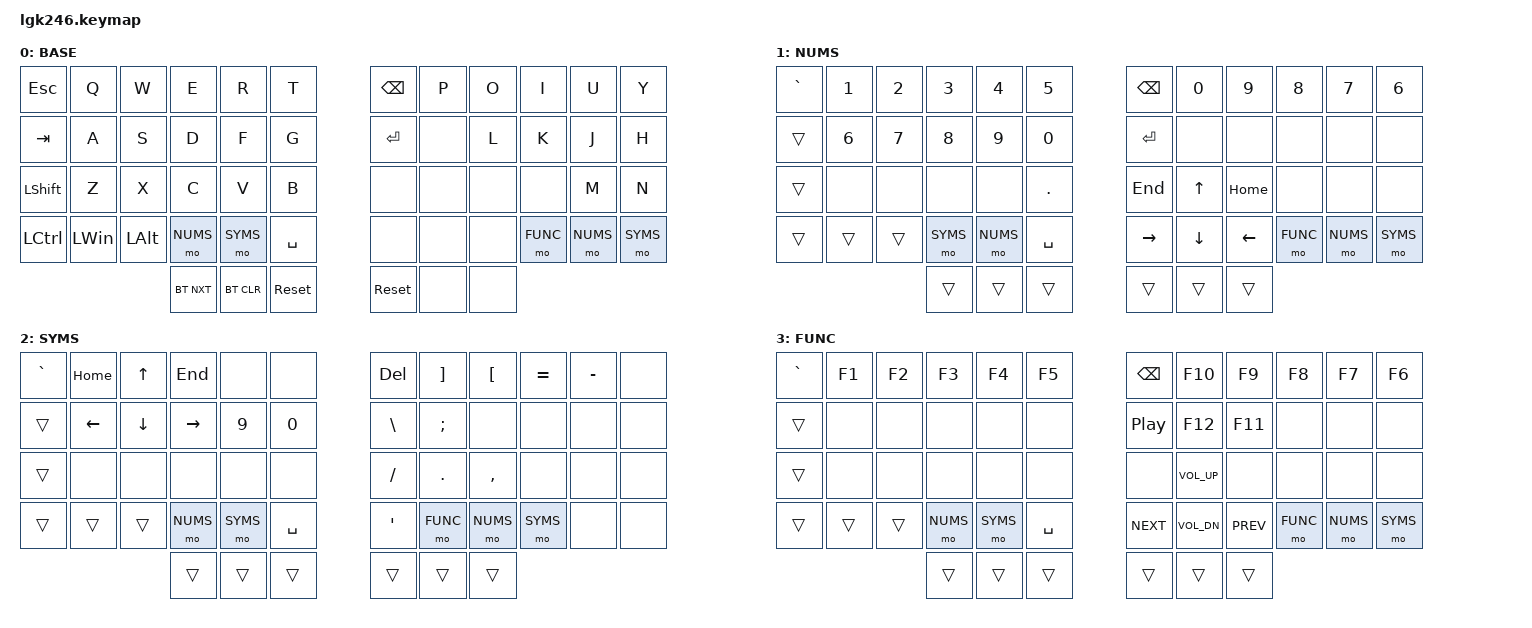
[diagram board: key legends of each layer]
#include <behaviors.dtsi>
#include <dt-bindings/zmk/keys.h>
#include <dt-bindings/zmk/bt.h>
#include <dt-bindings/zmk/outputs.h>

#define BASE 0
#define NUMS 1
#define SYMS 2
#define FUNC 3

&mt {
  quick-tap-ms = <100>;
  global-quick-tap;
  flavor = "tap-preferred";
  tapping-term-ms = <170>;
};

/ {
    combos {
            compatible = "zmk,combos";
            combo_esc {
                timeout-ms = <50>;
                key-positions = <0 1>;
                bindings = <&kp ESC>;
            };
    };

    macros {
        gif: gif {
            label = "giphy";
            compatible = "zmk,behavior-macro";
            #binding-cells = <0>;
            bindings
                = <&macro_press &kp LSHFT>
                , <&macro_tap &kp N2>
                , <&macro_release &kp LSHFT>
                , <&macro_tap &kp G &kp I &kp F>
                ;
        };
    };

        keymap {
                compatible = "zmk,keymap";
// ▄▄▄▄▄▄▄▄▄▄▄▄▄▄▄▄▄▄▄▄▄▄▄▄▄▄▄▄▄▄▄▄▄▄▄▄▄▄▄▄▄▄▄▄▄▄▄▄▄▄▄▄▄▄▄▄▄▄▄▄▄▄▄▄▄▄▄▄▄▄▄▄▄▄▄▄▄▄▄▄▄▄▄▄▄▄▄▄▄▄▄▄▄▄▄▄▄▄▄▄▄▄▄▄▄▄▄▄▄▄▄▄▄▄▄▄▄▄▄▄▄▄▄▄▄▄▄▄▄▄▄▄▄▄▄▄▄▄▄▄▄▄▄▄▄▄▄▄▄

                base_layer {
// ┏━━━━━━━━━━━━━━━━━━━━━━━━━━━━━━━━━━━━━━━┓
label= "BASE"                              ;
// ┗━━━━━━━━━━━━━━━━━━━━━━━━━━━━━━━━━━━━━━━┛
// ┏━━━━━━━━━━━┳━━━━━━━━━━━┳━━━━━━━━━━━┳━━━━━━━━━━━┳━━━━━━━━━━━┳━━━━━━━━━━━┓   ┏━━━━━━━━━━━┳━━━━━━━━━━━┳━━━━━━━━━━━┳━━━━━━━━━━━┳━━━━━━━━━━━┳━━━━━━━━━━━┓
// ┃    ESC    ┃     Q     ┃     W     ┃     E     ┃     R     ┃     T     ┃   ┃    BACK   ┃     P     ┃     O     ┃     I     ┃     U     ┃     Y     ┃
// ┣━━━━━━━━━━━╋━━━━━━━━━━━╋━━━━━━━━━━━╋━━━━━━━━━━━╋━━━━━━━━━━━╋━━━━━━━━━━━┫   ┣━━━━━━━━━━━╋━━━━━━━━━━━╋━━━━━━━━━━━╋━━━━━━━━━━━╋━━━━━━━━━━━╋━━━━━━━━━━━┫
// ┃    TAB    ┃     A     ┃     S     ┃     D     ┃     F     ┃     G     ┃   ┃   ENTER   ┃           ┃     L     ┃     K     ┃     J     ┃     H     ┃
// ┣━━━━━━━━━━━╋━━━━━━━━━━━╋━━━━━━━━━━━╋━━━━━━━━━━━╋━━━━━━━━━━━╋━━━━━━━━━━━┫   ┣━━━━━━━━━━━╋━━━━━━━━━━━╋━━━━━━━━━━━╋━━━━━━━━━━━╋━━━━━━━━━━━╋━━━━━━━━━━━┫
// ┃   SHIFT   ┃     Z     ┃     X     ┃     C     ┃     V     ┃     B     ┃   ┃           ┃           ┃           ┃           ┃     M     ┃     N     ┃
// ┣━━━━━━━━━━━╋━━━━━━━━━━━╋━━━━━━━━━━━╋━━━━━━━━━━━╋━━━━━━━━━━━╋━━━━━━━━━━━┫   ┣━━━━━━━━━━━╋━━━━━━━━━━━╋━━━━━━━━━━━╋━━━━━━━━━━━╋━━━━━━━━━━━╋━━━━━━━━━━━┫
// ┃    CTRL   ┃    WIN    ┃    ALT    ┃    NUMS   ┃    SYMS   ┃   SPACE   ┃   ┃           ┃           ┃           ┃    FUNC   ┃    NUMS   ┃   SYMS    ┃   
// ┣━━━━━━━━━━━╋━━━━━━━━━━━╋━━━━━━━━━━━╋━━━━━━━━━━━┻━━━━━━━━━━━┻━━━━━━━━━━━┛   ┗━━━━━━━━━━━┻━━━━━━━━━━━┻━━━━━━━━━━━╋━━━━━━━━━━━╋━━━━━━━━━━━╋━━━━━━━━━━━┫ 
// ┃  BUTTON1  ┃  BUTTON2  ┃  BUTTON3  ┃                                                                           ┃  BUTTON1  ┃  BUTTON2  ┃  BUTTON3  ┃
// ┗━━━━━━━━━━━┻━━━━━━━━━━━┻━━━━━━━━━━━┛                                                                           ┗━━━━━━━━━━━┻━━━━━━━━━━━┻━━━━━━━━━━━┛

 bindings = <
// ╷           ╷           ╷           ╷           ╷           ╷           ╷   ╷           ╷           ╷           ╷           ╷           ╷           ╷

    &kp ESCAPE  &kp Q       &kp W       &kp E       &kp R       &kp T           &kp BSPC    &kp P       &kp O       &kp I       &kp U       &kp Y                     
    &kp TAB     &kp A       &kp S       &kp D       &kp F       &kp G           &kp ENTER   &none       &kp L       &kp K       &kp J       &kp H       
    &kp LSHIFT  &kp Z       &kp X       &kp C       &kp V       &kp B           &none       &none       &none       &none       &kp M       &kp N 
    &kp LCTRL   &kp LWIN    &kp LALT    &mo NUMS    &mo SYMS    &kp SPACE       &none       &none       &none       &mo FUNC    &mo NUMS    &mo SYMS
    &bt BT_NXT  &bt BT_CLR  &sys_reset                                                                              &sys_reset  &none       &none    
                        >;
                };
// ▄▄▄▄▄▄▄▄▄▄▄▄▄▄▄▄▄▄▄▄▄▄▄▄▄▄▄▄▄▄▄▄▄▄▄▄▄▄▄▄▄▄▄▄▄▄▄▄▄▄▄▄▄▄▄▄▄▄▄▄▄▄▄▄▄▄▄▄▄▄▄▄▄▄▄▄▄▄▄▄▄▄▄▄▄▄▄▄▄▄▄▄▄▄▄▄▄▄▄▄▄▄▄▄▄▄▄▄▄▄▄▄▄▄▄▄▄▄▄▄▄▄▄▄▄▄▄▄▄▄▄▄▄▄▄▄▄▄▄▄▄▄▄▄▄▄▄▄▄
                nums_layer {
// ┏━━━━━━━━━━━━━━━━━━━━━━━━━━━━━━━━━━━━━━━┓
label= "NUMS"                              ;
// ┗━━━━━━━━━━━━━━━━━━━━━━━━━━━━━━━━━━━━━━━┛
// ┏━━━━━━━━━━━┳━━━━━━━━━━━┳━━━━━━━━━━━┳━━━━━━━━━━━┳━━━━━━━━━━━┳━━━━━━━━━━━┓   ┏━━━━━━━━━━━┳━━━━━━━━━━━┳━━━━━━━━━━━┳━━━━━━━━━━━┳━━━━━━━━━━━┳━━━━━━━━━━━┓
// ┃   TRANS   ┃     1     ┃     2     ┃     3     ┃     4     ┃     5     ┃   ┃    BACK   ┃     0     ┃     9     ┃     8     ┃     7     ┃     6     ┃
// ┣━━━━━━━━━━━╋━━━━━━━━━━━╋━━━━━━━━━━━╋━━━━━━━━━━━╋━━━━━━━━━━━╋━━━━━━━━━━━┫   ┣━━━━━━━━━━━╋━━━━━━━━━━━╋━━━━━━━━━━━╋━━━━━━━━━━━╋━━━━━━━━━━━╋━━━━━━━━━━━┫
// ┃   TRANS   ┃     6     ┃     7     ┃     8     ┃     9     ┃     0     ┃   ┃   ENTER   ┃           ┃           ┃           ┃           ┃           ┃
// ┣━━━━━━━━━━━╋━━━━━━━━━━━╋━━━━━━━━━━━╋━━━━━━━━━━━╋━━━━━━━━━━━╋━━━━━━━━━━━┫   ┣━━━━━━━━━━━╋━━━━━━━━━━━╋━━━━━━━━━━━╋━━━━━━━━━━━╋━━━━━━━━━━━╋━━━━━━━━━━━┫
// ┃   TRANS   ┃           ┃           ┃           ┃           ┃     .     ┃   ┃    END    ┃     UP    ┃    HOME   ┃           ┃           ┃           ┃
// ┣━━━━━━━━━━━╋━━━━━━━━━━━╋━━━━━━━━━━━╋━━━━━━━━━━━╋━━━━━━━━━━━╋━━━━━━━━━━━┫   ┣━━━━━━━━━━━╋━━━━━━━━━━━╋━━━━━━━━━━━╋━━━━━━━━━━━╋━━━━━━━━━━━╋━━━━━━━━━━━┫
// ┃   TRANS   ┃           ┃           ┃   SYMS    ┃    NUMS   ┃   SPACE   ┃   ┃    LEFT   ┃    DOWN   ┃   RIGHT   ┃    FUNC   ┃   NUMS    ┃   SYMS    ┃
// ┣━━━━━━━━━━━╋━━━━━━━━━━━╋━━━━━━━━━━━╋━━━━━━━━━━━┻━━━━━━━━━━━┻━━━━━━━━━━━┛   ┗━━━━━━━━━━━┻━━━━━━━━━━━┻━━━━━━━━━━━╋━━━━━━━━━━━╋━━━━━━━━━━━╋━━━━━━━━━━━┫ 
// ┃  BUTTON1  ┃  BUTTON2  ┃  BUTTON3  ┃                                                                           ┃  BUTTON1  ┃  BUTTON2  ┃  BUTTON3  ┃
// ┗━━━━━━━━━━━┻━━━━━━━━━━━┻━━━━━━━━━━━┛                                                                           ┗━━━━━━━━━━━┻━━━━━━━━━━━┻━━━━━━━━━━━┛

 bindings = <
// ╷           ╷           ╷           ╷           ╷           ╷           ╷   ╷           ╷           ╷           ╷           ╷           ╷           ╷

    &kp GRAVE   &kp N1      &kp N2      &kp N3      &kp N4      &kp N5          &kp BSPC    &kp N0      &kp N9      &kp N8      &kp N7      &kp N6
    &trans      &kp N6      &kp N7      &kp N8      &kp N9      &kp N0          &kp ENTER   &none       &none       &none       &none       &none       
    &trans      &none       &none       &none       &none       &kp PERIOD      &kp END     &kp UP      &kp HOME    &none       &none       &none       
    &trans      &trans      &trans      &mo SYMS    &mo NUMS    &kp SPACE       &kp RIGHT   &kp DOWN    &kp LEFT    &mo FUNC    &mo NUMS    &mo SYMS  
    &trans      &trans      &trans                                                                                  &trans      &trans      &trans

                        >;
                };
// ▄▄▄▄▄▄▄▄▄▄▄▄▄▄▄▄▄▄▄▄▄▄▄▄▄▄▄▄▄▄▄▄▄▄▄▄▄▄▄▄▄▄▄▄▄▄▄▄▄▄▄▄▄▄▄▄▄▄▄▄▄▄▄▄▄▄▄▄▄▄▄▄▄▄▄▄▄▄▄▄▄▄▄▄▄▄▄▄▄▄▄▄▄▄▄▄▄▄▄▄▄▄▄▄▄▄▄▄▄▄▄▄▄▄▄▄▄▄▄▄▄▄▄▄▄▄▄▄▄▄▄▄▄▄▄▄▄▄▄▄▄▄▄▄▄▄▄▄▄
                symbols {
// ┏━━━━━━━━━━━━━━━━━━━━━━━━━━━━━━━━━━━━━━━┓
label= "SYMS"                              ;
// ┗━━━━━━━━━━━━━━━━━━━━━━━━━━━━━━━━━━━━━━━┛
// ┏━━━━━━━━━━━┳━━━━━━━━━━━┳━━━━━━━━━━━┳━━━━━━━━━━━┳━━━━━━━━━━━┳━━━━━━━━━━━┓   ┏━━━━━━━━━━━┳━━━━━━━━━━━┳━━━━━━━━━━━┳━━━━━━━━━━━┳━━━━━━━━━━━┳━━━━━━━━━━━┓
// ┃   GRAVE   ┃    HOME   ┃     UP    ┃    END    ┃           ┃           ┃   ┃    DEL    ┃     ]     ┃     [     ┃     =     ┃     -     ┃           ┃
// ┣━━━━━━━━━━━╋━━━━━━━━━━━╋━━━━━━━━━━━╋━━━━━━━━━━━╋━━━━━━━━━━━╋━━━━━━━━━━━┫   ┣━━━━━━━━━━━╋━━━━━━━━━━━╋━━━━━━━━━━━╋━━━━━━━━━━━╋━━━━━━━━━━━╋━━━━━━━━━━━┫
// ┃   TRANS   ┃   RIGHT   ┃    DOWN   ┃    LEFT   ┃           ┃           ┃   ┃     \     ┃     ;     ┃           ┃           ┃           ┃           ┃
// ┣━━━━━━━━━━━╋━━━━━━━━━━━╋━━━━━━━━━━━╋━━━━━━━━━━━╋━━━━━━━━━━━╋━━━━━━━━━━━┫   ┣━━━━━━━━━━━╋━━━━━━━━━━━╋━━━━━━━━━━━╋━━━━━━━━━━━╋━━━━━━━━━━━╋━━━━━━━━━━━┫
// ┃   TRANS   ┃           ┃           ┃           ┃           ┃           ┃   ┃     /     ┃     .     ┃     ,     ┃           ┃           ┃           ┃
// ┣━━━━━━━━━━━╋━━━━━━━━━━━╋━━━━━━━━━━━╋━━━━━━━━━━━╋━━━━━━━━━━━╋━━━━━━━━━━━┫   ┣━━━━━━━━━━━╋━━━━━━━━━━━╋━━━━━━━━━━━╋━━━━━━━━━━━╋━━━━━━━━━━━╋━━━━━━━━━━━┫
// ┃   TRANS   ┃   TRANS   ┃   TRANS   ┃    NUMS   ┃    SYMS   ┃   SPACE   ┃   ┃     '     ┃           ┃           ┃    FUNC   ┃    NUMS   ┃    SYMS   ┃
// ┣━━━━━━━━━━━╋━━━━━━━━━━━╋━━━━━━━━━━━╋━━━━━━━━━━━┻━━━━━━━━━━━┻━━━━━━━━━━━┛   ┗━━━━━━━━━━━┻━━━━━━━━━━━┻━━━━━━━━━━━╋━━━━━━━━━━━╋━━━━━━━━━━━╋━━━━━━━━━━━┫ 
// ┃  BUTTON1  ┃  BUTTON2  ┃  BUTTON3  ┃                                                                           ┃  BUTTON1  ┃  BUTTON2  ┃  BUTTON3  ┃
// ┗━━━━━━━━━━━┻━━━━━━━━━━━┻━━━━━━━━━━━┛                                                                           ┗━━━━━━━━━━━┻━━━━━━━━━━━┻━━━━━━━━━━━┛

 bindings = <
// ╷           ╷           ╷           ╷           ╷           ╷           ╷   ╷           ╷           ╷           ╷           ╷           ╷           ╷

    &kp GRAVE   &kp HOME    &kp UP      &kp END     &none       &none           &kp DEL     &kp RBKT    &kp LBKT    &kp EQUAL   &kp MINUS   &none
    &trans      &kp LEFT    &kp DOWN    &kp RIGHT   &kp N9      &kp N0          &kp BSLH    &kp SEMI    &none       &none       &none       &none      
    &trans      &none       &none       &none       &none       &none           &kp SLASH   &kp PERIOD  &kp COMMA   &none       &none       &none
    &trans      &trans      &trans      &mo NUMS    &mo SYMS    &kp SPACE       &kp SQT     &mo FUNC    &mo NUMS    &mo SYMS    &none       &none
    &trans      &trans      &trans                                                                                  &trans      &trans      &trans

                        >;
                };
                // ▄▄▄▄▄▄▄▄▄▄▄▄▄▄▄▄▄▄▄▄▄▄▄▄▄▄▄▄▄▄▄▄▄▄▄▄▄▄▄▄▄▄▄▄▄▄▄▄▄▄▄▄▄▄▄▄▄▄▄▄▄▄▄▄▄▄▄▄▄▄▄▄▄▄▄▄▄▄▄▄▄▄▄▄▄▄▄▄▄▄▄▄▄▄▄▄▄▄▄▄▄▄▄▄▄▄▄▄▄▄▄▄▄▄▄▄▄▄▄▄▄▄▄▄▄▄▄▄▄▄▄▄▄▄▄▄▄▄▄▄▄▄▄▄▄▄▄▄▄
                functions {
// ┏━━━━━━━━━━━━━━━━━━━━━━━━━━━━━━━━━━━━━━━┓
label= "FUNC"                              ;
// ┗━━━━━━━━━━━━━━━━━━━━━━━━━━━━━━━━━━━━━━━┛
// ┏━━━━━━━━━━━┳━━━━━━━━━━━┳━━━━━━━━━━━┳━━━━━━━━━━━┳━━━━━━━━━━━┳━━━━━━━━━━━┓   ┏━━━━━━━━━━━┳━━━━━━━━━━━┳━━━━━━━━━━━┳━━━━━━━━━━━┳━━━━━━━━━━━┳━━━━━━━━━━━┓
// ┃   GRAVE   ┃     F1    ┃     F2    ┃     F3    ┃     F4    ┃     F5    ┃   ┃    BACK   ┃    F10    ┃     F9    ┃     F8    ┃     F7    ┃     F6    ┃
// ┣━━━━━━━━━━━╋━━━━━━━━━━━╋━━━━━━━━━━━╋━━━━━━━━━━━╋━━━━━━━━━━━╋━━━━━━━━━━━┫   ┣━━━━━━━━━━━╋━━━━━━━━━━━╋━━━━━━━━━━━╋━━━━━━━━━━━╋━━━━━━━━━━━╋━━━━━━━━━━━┫
// ┃   TRANS   ┃           ┃           ┃           ┃           ┃           ┃   ┃   PLAY    ┃    F12    ┃    F11    ┃           ┃           ┃           ┃
// ┣━━━━━━━━━━━╋━━━━━━━━━━━╋━━━━━━━━━━━╋━━━━━━━━━━━╋━━━━━━━━━━━╋━━━━━━━━━━━┫   ┣━━━━━━━━━━━╋━━━━━━━━━━━╋━━━━━━━━━━━╋━━━━━━━━━━━╋━━━━━━━━━━━╋━━━━━━━━━━━┫
// ┃   TRANS   ┃           ┃           ┃           ┃           ┃           ┃   ┃           ┃  VOL UP   ┃           ┃           ┃           ┃           ┃
// ┣━━━━━━━━━━━╋━━━━━━━━━━━╋━━━━━━━━━━━╋━━━━━━━━━━━╋━━━━━━━━━━━╋━━━━━━━━━━━┫   ┣━━━━━━━━━━━╋━━━━━━━━━━━╋━━━━━━━━━━━╋━━━━━━━━━━━╋━━━━━━━━━━━╋━━━━━━━━━━━┫
// ┃   TRANS   ┃   TRANS   ┃   TRANS   ┃    NUMS   ┃    SYMS   ┃   SPACE   ┃   ┃    NEXT   ┃  VOL DN   ┃    PREV   ┃    FUNC   ┃    SYMS   ┃    NUMS   ┃   
// ┣━━━━━━━━━━━╋━━━━━━━━━━━╋━━━━━━━━━━━╋━━━━━━━━━━━┻━━━━━━━━━━━┻━━━━━━━━━━━┛   ┗━━━━━━━━━━━┻━━━━━━━━━━━┻━━━━━━━━━━━╋━━━━━━━━━━━╋━━━━━━━━━━━╋━━━━━━━━━━━┫ 
// ┃  BUTTON1  ┃  BUTTON2  ┃  BUTTON3  ┃                                                                           ┃  BUTTON1  ┃  BUTTON2  ┃  BUTTON3  ┃
// ┗━━━━━━━━━━━┻━━━━━━━━━━━┻━━━━━━━━━━━┛                                                                           ┗━━━━━━━━━━━┻━━━━━━━━━━━┻━━━━━━━━━━━┛

 bindings = <
// ╷           ╷           ╷           ╷           ╷           ╷           ╷   ╷           ╷           ╷           ╷           ╷           ╷           ╷

    &kp GRAVE   &kp F1      &kp F2      &kp F3      &kp F4      &kp F5          &kp BSPC    &kp F10      &kp F9      &kp F8      &kp F7      &kp F6           
    &trans      &none       &none       &none       &none       &none           &kp C_PP   &kp F12      &kp F11     &none       &none       &none
    &trans      &none       &none       &none       &none       &none           &none       &kp K_VOL_UP &none       &none       &none       &none
    &trans      &trans      &trans      &mo NUMS    &mo SYMS    &kp SPACE       &kp K_NEXT  &kp K_VOL_DN &kp K_PREV  &mo FUNC    &mo NUMS    &mo SYMS
    &trans      &trans      &trans                                                                                   &trans      &trans      &trans

                        >;
                };
                
        };
};
// ▄▄▄▄▄▄▄▄▄▄▄▄▄▄▄▄▄▄▄▄▄▄▄▄▄▄▄▄▄▄▄▄▄▄▄▄▄▄▄▄▄▄▄▄▄▄▄▄▄▄▄▄▄▄▄▄▄▄▄▄▄▄▄▄▄▄▄▄▄▄▄▄▄▄▄▄▄▄▄▄▄▄▄▄▄▄▄▄▄▄▄▄▄▄▄▄▄▄▄▄▄▄▄▄▄▄▄▄▄▄▄▄▄▄▄▄▄▄▄▄▄▄▄▄▄▄▄▄▄▄▄▄▄▄▄▄▄▄▄▄▄▄▄▄▄▄▄▄▄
